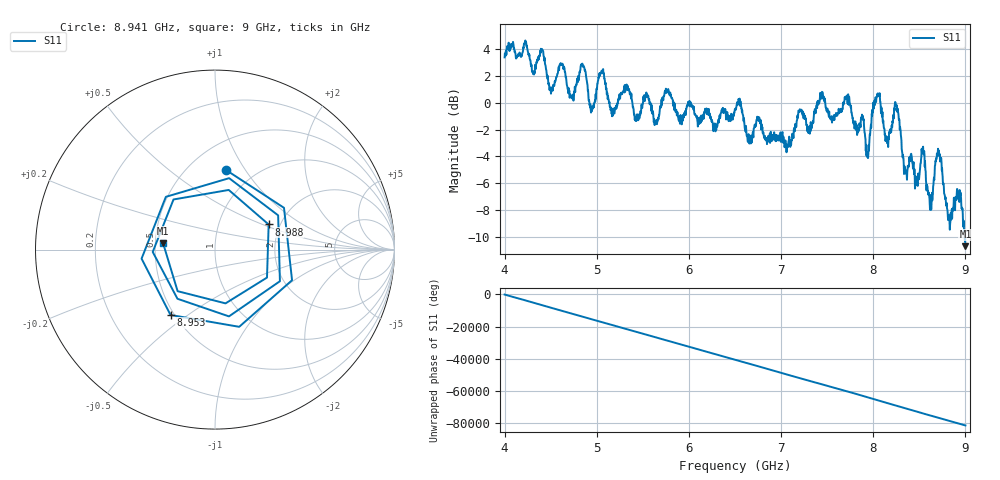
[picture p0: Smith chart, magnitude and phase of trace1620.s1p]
! Created with skrf 1.8.0 (http://scikit-rf.org).
# Hz S RI R 50.0
!freq ReS11 ImS11
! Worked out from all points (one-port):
!   1601 points, 4 GHz to 9 GHz, reference 50 ohm
!   lowest |S11| = -10.7 dB at 9 GHz (marker M1), VSWR 1.82, Z = 27.5 + j2.09 ohm
!   |S11| at or under -10 dB: 8.992587 GHz to end of sweep
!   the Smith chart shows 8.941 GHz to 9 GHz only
!   S11 on the Smith chart (normalised r, x): 8.941 GHz: 0.74, +0.82; 8.953 GHz: 0.48, -0.43; 8.988 GHz: 1.74, +0.55; 9 GHz: 0.55, +0.04
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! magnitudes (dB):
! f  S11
! 4 GHz  3.4
! 4.403 GHz  4.0
! 4.509 GHz  0.9
! 4.625 GHz  2.9
! 4.731 GHz  0.5
! 4.853 GHz  2.8
! 4.944 GHz  -0.6
! 5.05 GHz  2.3
! 5.166 GHz  -1.0
! 5.25 GHz  0.5
! 5.875 GHz  -0.7
! 6.5 GHz  -0.4
! 7.125 GHz  -2.5
! 7.441 GHz  0.8
! 7.75 GHz  -0.1
! 7.938 GHz  -4.1
! 8.047 GHz  0.6
! 8.15 GHz  -3.0
! 8.25 GHz  -0.2
! 8.375 GHz  -4.7
! 8.538 GHz  -3.3
! 8.622 GHz  -7.1
! 8.712 GHz  -3.6
! 8.822 GHz  -8.7
! 8.941 GHz  -7.0
! 8.953 GHz  -7.1
! 8.988 GHz  -9.6
! 9 GHz  -10.7
